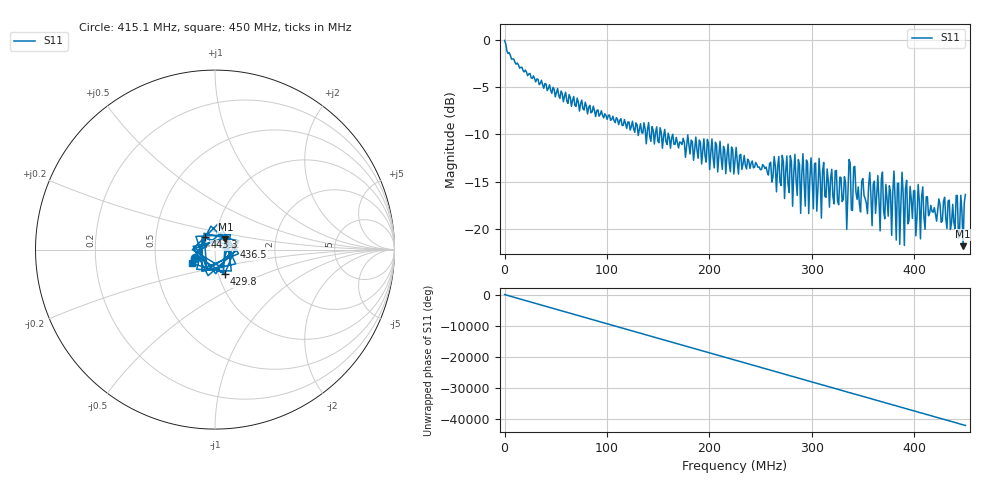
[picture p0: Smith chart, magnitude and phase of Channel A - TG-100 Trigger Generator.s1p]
! NanoVNA-App
! Date: 2026-10-05 11:26:47
! Start: 50kHz Stop: 450MHz Points: 401
! S-Parameter data: F S11
# Hz S RI R 50
!  Frequency  S11_Real  S11_Imag
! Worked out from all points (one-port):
!   401 points, 50 kHz to 450 MHz, reference 50 ohm
!   lowest |S11| = -21.9 dB at 447.8 MHz (marker M1), VSWR 1.18, Z = 55.7 + j6.32 ohm
!   |S11| at or under -10 dB: 141.6 MHz to 143.4 MHz (1.805 MHz wide, 1.27 % of centre); 160.1 MHz to 164.2 MHz (4.128 MHz wide, 2.55 % of centre); 164.3 MHz to end of sweep (the widest 3 of 9)
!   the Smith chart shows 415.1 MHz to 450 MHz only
!   S11 on the Smith chart (normalised r, x): 415.1 MHz: 0.79, -0.07; 429.8 MHz: 1.07, -0.30; 436.5 MHz: 1.24, +0.04; 443.3 MHz: 0.89, +0.12; 450 MHz: 0.76, -0.12
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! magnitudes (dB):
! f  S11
! 50 kHz  0.0
! 56.29 MHz  -5.6
! 112.5 MHz  -8.5
! 168.8 MHz  -10.9
! 225 MHz  -12.8
! 281.3 MHz  -17.6
! 291.4 MHz  -12.0
! 293.6 MHz  -17.6
! 299.3 MHz  -12.5
! 304.9 MHz  -18.2
! 307.1 MHz  -12.5
! 309.4 MHz  -18.9
! 331.9 MHz  -14.5
! 337.5 MHz  -13.0
! 378 MHz  -20.7
! 380.3 MHz  -13.9
! 382.5 MHz  -21.2
! 388.1 MHz  -14.0
! 393.8 MHz  -19.5
! 403.9 MHz  -15.3
! 406.1 MHz  -21.1
! 415.1 MHz  -18.3
! 429.8 MHz  -16.7
! 436.5 MHz  -19.4
! 443.3 MHz  -21.0
! 445.5 MHz  -16.5
! 447.8 MHz  -21.9
! 450 MHz  -16.4
